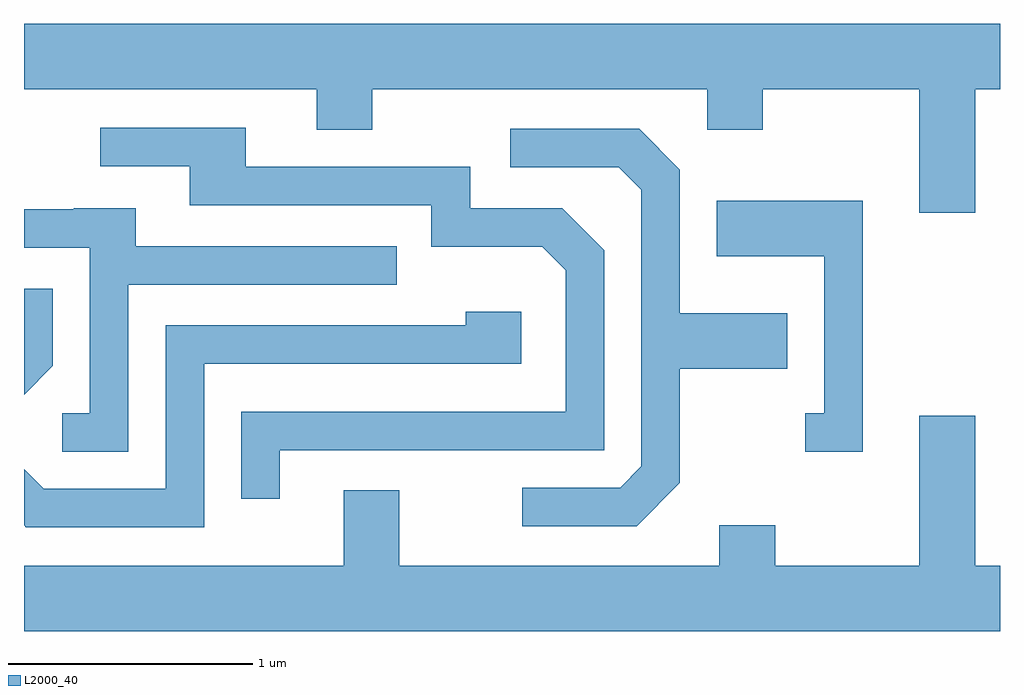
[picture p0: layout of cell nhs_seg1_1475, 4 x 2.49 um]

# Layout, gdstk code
import gdstk
lib = gdstk.Library(unit=1e-6, precision=1e-09)
def P(c, l, *ps):  # polygons
    for p in ps: c.add(gdstk.Polygon(p, *l))
L2000_40 = (2000, 40)

nhs_seg1_1475 = lib.new_cell('nhs_seg1_1475')
P(nhs_seg1_1475, L2000_40, [(233.509,970.616),(233.611,970.616),(233.611,970.884),(229.611,970.884),(229.611,970.616),(230.811,970.616),(230.811,970.451),(231.039,970.451),(231.039,970.616),(232.411,970.616),(232.411,970.451),(232.639,970.451),(232.639,970.616),(233.281,970.616),(233.281,970.111),(233.509,970.111)],
  [(230.659,969.136),(231.989,969.136),(231.989,969.957),(231.817,970.129),(231.439,970.129),(231.439,970.299),(230.519,970.299),(230.519,970.459),(229.923,970.459),(229.923,970.301),(230.291,970.301),(230.291,970.141),(231.281,970.141),(231.281,969.971),(231.734,969.971),(231.831,969.874),(231.831,969.294),(230.501,969.294),(230.501,968.938),(230.659,968.938)],
  [(232.299,969.004),(232.299,969.471),(232.739,969.471),(232.739,969.699),(232.299,969.699),(232.299,970.287),(232.132,970.454),(231.603,970.454),(231.603,970.296),(232.049,970.296),(232.141,970.204),(232.141,969.072),(232.054,968.984),(231.653,968.984),(231.653,968.826),(232.122,968.826)],
  [(233.049,970.159),(232.451,970.159),(232.451,969.931),(232.891,969.931),(232.891,969.289),(232.813,969.289),(232.813,969.131),(233.049,969.131)],
  [(230.039,969.816),(231.138,969.816),(231.138,969.974),(230.069,969.974),(230.069,970.129),(229.815,970.129),(229.815,970.124),(229.611,970.124),(229.611,969.966),(229.881,969.966),(229.881,969.289),(229.768,969.289),(229.768,969.131),(230.039,969.131)],
  [(229.729,969.484),(229.729,969.798),(229.611,969.798),(229.611,969.365)],
  [(230.349,969.491),(231.649,969.491),(231.649,969.704),(231.421,969.704),(231.421,969.649),(230.191,969.649),(230.191,968.979),(229.692,968.979),(229.611,969.06),(229.611,968.829),(229.619,968.821),(230.349,968.821)],
  [(233.611,968.664),(233.509,968.664),(233.509,969.279),(233.281,969.279),(233.281,968.664),(232.689,968.664),(232.689,968.829),(232.461,968.829),(232.461,968.664),(231.149,968.664),(231.149,968.974),(230.921,968.974),(230.921,968.664),(229.611,968.664),(229.611,968.396),(233.611,968.396)])

lib.write_gds('nhs_seg1_1475.gds')
